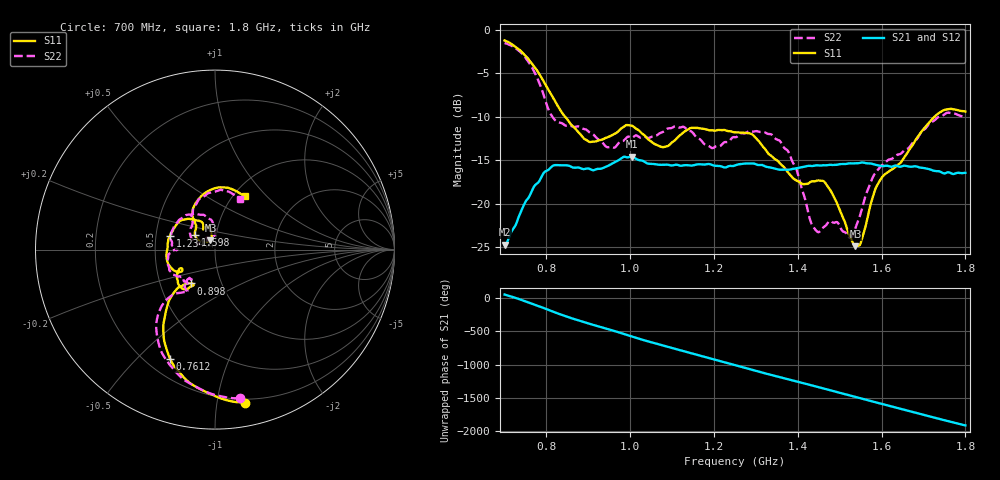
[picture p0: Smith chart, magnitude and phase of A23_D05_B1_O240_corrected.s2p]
! Created with skrf 1.9.0 (http://scikit-rf.org).
# Hz S RI R 50.0
!freq ReS11 ImS11 ReS21 ImS21 ReS12 ImS12 ReS22 ImS22
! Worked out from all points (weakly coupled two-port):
!   1601 points, 700 MHz to 1.8 GHz, reference 50 ohm
!   highest |S21| = -14.56 dB at 1.003 GHz (marker M1); lowest = -24.7 dB at 700 MHz (marker M2)
!   lowest |S11| = -24.9 dB at 1.537 GHz (marker M3), VSWR 1.12, Z = 47.3 + j4.88 ohm
!   |S11| at or under -10 dB: 844.8 MHz to 1.726 GHz (881.1 MHz wide, 68.6 % of centre)
!   |S22| runs from -23.9 to -1.5 dB; largest |S21 - S12| = 0.0035
!   S11 on the Smith chart (normalised r, x): 700 MHz: 0.17, -1.20; 761.2 MHz: 0.29, -0.63; 898 MHz: 0.72, -0.29; 1.234 GHz: 0.59, +0.10; 1.598 GHz: 0.79, +0.13; 1.8 GHz: 1.13, +0.76
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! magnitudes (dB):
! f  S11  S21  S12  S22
! 700 MHz  -1.2  -24.7  -24.5  -1.5
! 761.2 MHz  -3.6  -18.9  -18.8  -4.0
! 817.6 MHz  -7.9  -15.6  -15.7  -10.2
! 883.6 MHz  -12.2  -15.9  -15.8  -11.3
! 898 MHz  -12.7  -15.9  -16.0  -11.6
! 946.8 MHz  -12.3  -15.6  -15.6  -13.5
! 1.003 GHz  -11.0  -14.6  -14.7  -12.4
! 1.067 GHz  -13.3  -15.5  -15.4  -12.0
! 1.145 GHz  -11.3  -15.6  -15.6  -11.7
! 1.194 GHz  -11.5  -15.5  -15.4  -13.6
! 1.234 GHz  -11.6  -15.7  -15.7  -12.9
! 1.25 GHz  -11.8  -15.6  -15.5  -12.3
! 1.358 GHz  -15.4  -16.1  -16.0  -12.8
! 1.396 GHz  -17.3  -15.9  -15.9  -16.0
! 1.434 GHz  -17.4  -15.6  -15.6  -22.4
! 1.473 GHz  -18.1  -15.5  -15.5  -22.1
! 1.537 GHz  -24.9  -15.3  -15.3  -22.8
! 1.551 GHz  -24.3  -15.3  -15.3  -20.9
! 1.598 GHz  -17.2  -15.6  -15.6  -15.7
! 1.617 GHz  -16.3  -15.7  -15.6  -14.9
! 1.734 GHz  -9.6  -16.2  -16.3  -10.1
! 1.8 GHz  -9.4  -16.4  -16.4  -10.1
